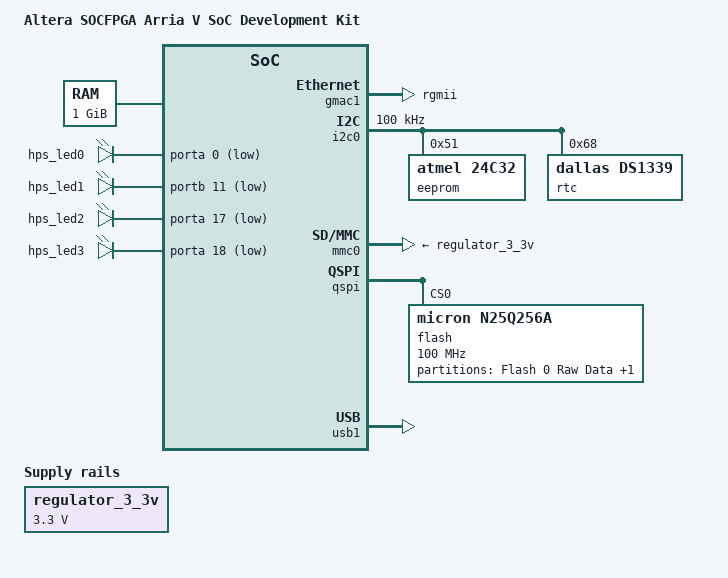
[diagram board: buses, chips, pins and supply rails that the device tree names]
// SPDX-License-Identifier: GPL-2.0+
/*
 * Copyright (C) 2013 Altera Corporation <www.altera.com>
 */

#include "socfpga_arria5.dtsi"

/ {
	model = "Altera SOCFPGA Arria V SoC Development Kit";
	compatible = "altr,socfpga-arria5", "altr,socfpga";

	chosen {
		bootargs = "earlyprintk";
		stdout-path = "serial0:115200n8";
	};

	memory@0 {
		name = "memory";
		device_type = "memory";
		reg = <0x0 0x40000000>; /* 1GB */
	};

	aliases {
		/* this allow the ethaddr uboot environmnet variable contents
		* to be added to the gmac1 device tree blob.
		*/
		ethernet0 = &gmac1;
	};

	leds {
		compatible = "gpio-leds";
		hps0 {
			label = "hps_led0";
			gpios = <&porta 0 1>;
		};

		hps1 {
			label = "hps_led1";
			gpios = <&portb 11 1>;
		};

		hps2 {
			label = "hps_led2";
			gpios = <&porta 17 1>;
		};

		hps3 {
			label = "hps_led3";
			gpios = <&porta 18 1>;
		};
	};

	regulator_3_3v: 3-3-v-regulator {
		compatible = "regulator-fixed";
		regulator-name = "3.3V";
		regulator-min-microvolt = <3300000>;
		regulator-max-microvolt = <3300000>;
	};
};

&gmac1 {
	status = "okay";
	phy-mode = "rgmii";

	rxd0-skew-ps = <0>;
	rxd1-skew-ps = <0>;
	rxd2-skew-ps = <0>;
	rxd3-skew-ps = <0>;
	txen-skew-ps = <0>;
	txc-skew-ps = <2600>;
	rxdv-skew-ps = <0>;
	rxc-skew-ps = <2000>;
};

&gpio0 {
	status = "okay";
};

&gpio1 {
	status = "okay";
};

&gpio2 {
	status = "okay";
};

&i2c0 {
	status = "okay";
	clock-frequency = <100000>;

	/*
	 * adjust the falling times to decrease the i2c frequency to 50Khz
	 * because the LCD module does not work at the standard 100Khz
	 */
	i2c-sda-falling-time-ns = <5000>;
	i2c-scl-falling-time-ns = <5000>;

	eeprom@51 {
		compatible = "atmel,24c32";
		reg = <0x51>;
		pagesize = <32>;
	};

	rtc@68 {
		compatible = "dallas,ds1339";
		reg = <0x68>;
	};
};

&mmc0 {
	vmmc-supply = <&regulator_3_3v>;
	vqmmc-supply = <&regulator_3_3v>;
	status = "okay";
};

&qspi {
	status = "okay";

	flash: flash@0 {
		#address-cells = <1>;
		#size-cells = <1>;
		compatible = "micron,n25q256a", "jedec,spi-nor";
		reg = <0>;
		spi-max-frequency = <100000000>;

		m25p,fast-read;
		cdns,page-size = <256>;
		cdns,block-size = <16>;
		cdns,read-delay = <4>;
		cdns,tshsl-ns = <50>;
		cdns,tsd2d-ns = <50>;
		cdns,tchsh-ns = <4>;
		cdns,tslch-ns = <4>;

		partition@qspi-boot {
			/* 8MB for raw data. */
			label = "Flash 0 Raw Data";
			reg = <0x0 0x800000>;
		};

		partition@qspi-rootfs {
			/* 120MB for jffs2 data. */
			label = "Flash 0 jffs2 Filesystem";
			reg = <0x800000 0x7800000>;
		};
	};
};

&usb1 {
	status = "okay";
};
